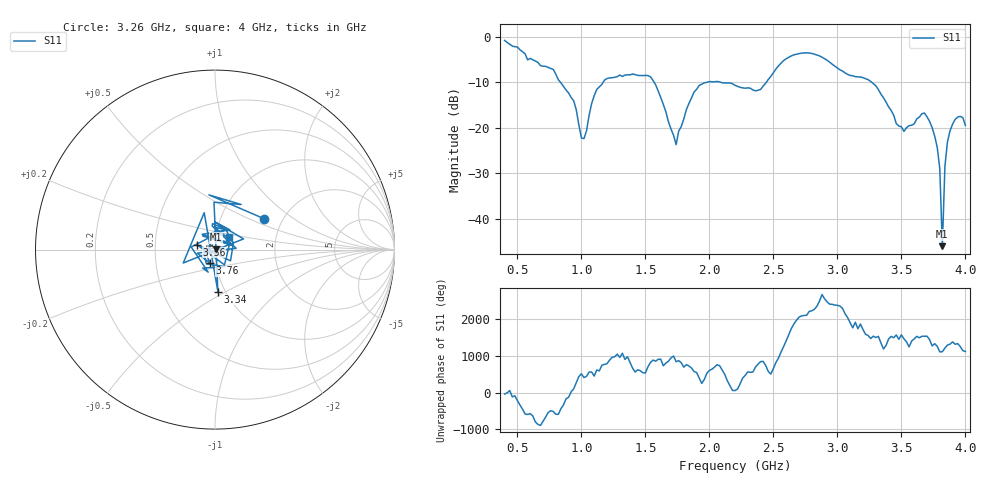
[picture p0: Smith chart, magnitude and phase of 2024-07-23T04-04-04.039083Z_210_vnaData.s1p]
!Created with skrf (http://scikit-rf.org).
# Hz S RI R 50.0
!freq ReS11 ImS11
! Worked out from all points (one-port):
!   181 points, 400 MHz to 4 GHz, reference 50 ohm
!   lowest |S11| = -46.1 dB at 3.82 GHz (marker M1), VSWR 1.01, Z = 50.4 + j0.275 ohm
!   |S11| at or under -10 dB: 1.569 GHz to 1.978 GHz (409.5 MHz wide, 23.1 % of centre); 2.09 GHz to 2.444 GHz (354 MHz wide, 15.6 % of centre); 3.269 GHz to end of sweep (the widest 3 of 4)
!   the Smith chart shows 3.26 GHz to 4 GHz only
!   S11 on the Smith chart (normalised r, x): 3.26 GHz: 1.61, +0.62; 3.34 GHz: 0.92, -0.46; 3.56 GHz: 0.81, +0.05; 3.76 GHz: 0.94, -0.14; 4 GHz: 1.16, +0.16
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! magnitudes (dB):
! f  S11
! 400 MHz  -0.8
! 780 MHz  -7.1
! 860 MHz  -10.9
! 940 MHz  -14.1
! 1 GHz  -22.2
! 1.02 GHz  -22.4
! 1.12 GHz  -11.5
! 1.3 GHz  -8.4
! 1.54 GHz  -8.8
! 1.74 GHz  -23.7
! 1.76 GHz  -20.7
! 1.92 GHz  -10.7
! 2.2 GHz  -10.6
! 2.4 GHz  -11.5
! 2.66 GHz  -3.9
! 3.1 GHz  -8.5
! 3.26 GHz  -9.8
! 3.34 GHz  -12.6
! 3.46 GHz  -19.1
! 3.56 GHz  -19.5
! 3.68 GHz  -16.7
! 3.76 GHz  -21.8
! 3.8 GHz  -29.0
! 3.82 GHz  -46.1
! 3.84 GHz  -28.5
! 3.86 GHz  -23.1
! 3.92 GHz  -18.1
! 4 GHz  -19.5
